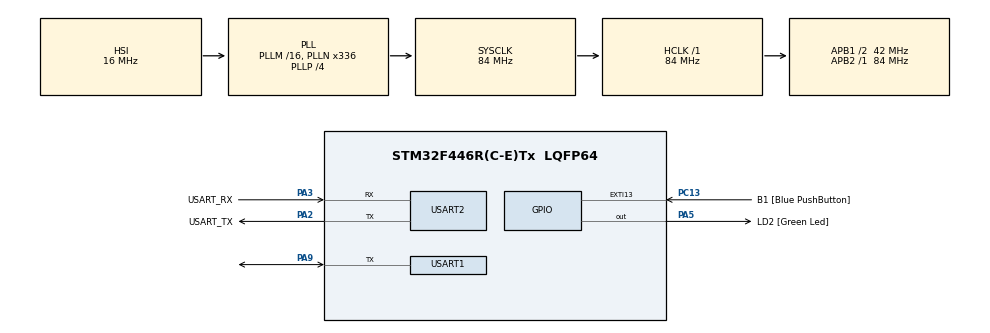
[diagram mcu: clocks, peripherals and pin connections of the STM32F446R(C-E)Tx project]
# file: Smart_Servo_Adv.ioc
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Mcu.Family=STM32F4
Mcu.Name=STM32F446R(C-E)Tx
Mcu.Package=LQFP64
NVIC.PriorityGroup=NVIC_PRIORITYGROUP_0
PA13.GPIO_Label=TMS
PA13.Mode=Serial_Wire
PA13.Signal=SYS_JTMS-SWDIO
PA14.GPIO_Label=TCK
PA14.Mode=Serial_Wire
PA14.Signal=SYS_JTCK-SWCLK
PA2.GPIO_Label=USART_TX
PA2.Mode=Asynchronous
PA2.Signal=USART2_TX
PA3.GPIO_Label=USART_RX
PA3.Mode=Asynchronous
PA3.Signal=USART2_RX
PA5.GPIO_Label=LD2 [Green Led]
PA5.Signal=GPIO_Output
PA9.GPIO_PuPd=GPIO_PULLUP
PA9.Mode=Half_duplex(single_wire_mode)
PA9.Signal=USART1_TX
PB3.GPIO_Label=SWO
PB3.Signal=SYS_JTDO-SWO
PC13.GPIO_Label=B1 [Blue PushButton]
PC13.GPIO_ModeDefaultEXTI=GPIO_MODE_IT_FALLING
PC13.Signal=GPXTI13
PC14-OSC32_IN.Mode=LSE-External-Oscillator
PC14-OSC32_IN.Signal=RCC_OSC32_IN
PC15-OSC32_OUT.Mode=LSE-External-Oscillator
PC15-OSC32_OUT.Signal=RCC_OSC32_OUT
PH0-OSC_IN.Mode=HSE-External-Oscillator
PH0-OSC_IN.Signal=RCC_OSC_IN
PH1-OSC_OUT.Mode=HSE-External-Oscillator
PH1-OSC_OUT.Signal=RCC_OSC_OUT
ProjectManager.HeapSize=0x200
ProjectManager.StackSize=0x400
ProjectManager.TargetToolchain=STM32CubeIDE
RCC.48MHZClocksFreq_Value=84000000
RCC.AHBFreq_Value=84000000
RCC.APB1CLKDivider=RCC_HCLK_DIV2
RCC.APB1Freq_Value=42000000
RCC.APB1TimFreq_Value=84000000
RCC.APB2Freq_Value=84000000
RCC.APB2TimFreq_Value=84000000
RCC.CortexFreq_Value=84000000
RCC.FLatency-AdvancedSettings=FLASH_LATENCY_2
RCC.HCLKFreq_Value=84000000
RCC.HSE_VALUE=8000000
RCC.HSI_VALUE=16000000
RCC.PLLN=336
RCC.PLLP=RCC_PLLP_DIV4
RCC.SYSCLKFreq_VALUE=84000000
RCC.SYSCLKSource=RCC_SYSCLKSOURCE_PLLCLK
RCC.USBFreq_Value=168000000
RCC.VCOOutputFreq_Value=336000000
USART1.BaudRate=115200
USART1.VirtualMode=VM_ASYNC
USART2.VirtualMode=VM_ASYNC
board=NUCLEO-F446RE

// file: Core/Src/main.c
/* USER CODE BEGIN Header */
/**
 ******************************************************************************
 * @file           : main.c
 * @brief          : Main program body
 ******************************************************************************
 * @attention
 *
 * Copyright (c) 2024 STMicroelectronics.
 * All rights reserved.
 *
 * This software is licensed under terms that can be found in the LICENSE file
 * in the root directory of this software component.
 * If no LICENSE file comes with this software, it is provided AS-IS.
 *
 ******************************************************************************
 */
/* USER CODE END Header */
#include "main.h"

/* USER CODE BEGIN Includes */
#include "../../../../AxelFlow.h"
#include <stdio.h>

/* USER CODE END Includes */

UART_HandleTypeDef huart1;
UART_HandleTypeDef huart2;

void SystemClock_Config(void);
static void MX_GPIO_Init(void);
static void MX_USART2_UART_Init(void);
static void MX_USART1_UART_Init(void);

int main(void)
{

	/* MCU Configuration--------------------------------------------------------*/

	/* Reset of all peripherals, Initializes the Flash interface and the Systick. */
	HAL_Init();

	/* Configure the system clock */
	SystemClock_Config();

	/* Initialize all configured peripherals */
	MX_GPIO_Init();
	MX_USART2_UART_Init();
	MX_USART1_UART_Init();
	/* USER CODE BEGIN 2 */

	/* TODO: THINGS TO KEEP OUT OF MAIN CODE
	 * 	 - UART code
	 * 	 - Debug Printing
	 * 	 - Compliance Slope Code
	 *
	 * TODO 2:
	 * - Multiple UART Compatible
	 *  - To ping
	 *  - To get current ID, model and firmware
	 *  - To set baudrate and ID
	 *  - To set angle and speed
	 *  - To set max torque
	 *  - Enable LED when gripping
	 *  - Set operating voltage to 12v
	 *  - To scan baudrate and ID
	 *
	 *
	 *
	 * */
	/* USER CODE END 2 */

	/* Infinite loop */
	/* USER CODE BEGIN WHILE */

	HAL_Delay(2000);
	for (int i = 0; i < 250; i++)
	{
		uint8_t send_data[] = { 0xFF, 0xFF, i, 0x07, 0x03, 0x1E, 0x00, 0x01,
				0x2C, 0x01, 0xA8 };
		uint8_t receive_data[INSTRUCTION_FRAME_BUFFER]; // Array to store received data
		memset(receive_data, 0, sizeof(receive_data));
		HAL_UART_Transmit(&huart1, send_data, sizeof(send_data), HAL_MAX_DELAY);
		HAL_UART_Receive(&huart1, receive_data, sizeof(receive_data),
		STATUS_PACKET_TIMEOUT);

		for (int i = 1; i < sizeof(receive_data); i++)
		{
			char rcv_dt[10];
			sprintf(rcv_dt, "0x%02X ", receive_data[i]);
			HAL_UART_Transmit(&huart2, (uint8_t*) rcv_dt, strlen(rcv_dt),
			HAL_MAX_DELAY);
		}
		HAL_UART_Transmit(&huart2, (uint8_t*) "\n\r", strlen("\n\r"),
		HAL_MAX_DELAY);

		HAL_Delay(10);
	}
	while (1)
	{

		HAL_Delay(100);
		/* USER CODE END WHILE */

	}
}

void SystemClock_Config(void)
{
	RCC_OscInitTypeDef RCC_OscInitStruct = { 0 };
	RCC_ClkInitTypeDef RCC_ClkInitStruct = { 0 };

	/** Configure the main internal regulator output voltage
	 */
	__HAL_RCC_PWR_CLK_ENABLE();
	__HAL_PWR_VOLTAGESCALING_CONFIG(PWR_REGULATOR_VOLTAGE_SCALE3);

	/** Initializes the RCC Oscillators according to the specified parameters
	 * in the RCC_OscInitTypeDef structure.
	 */
	RCC_OscInitStruct.OscillatorType = RCC_OSCILLATORTYPE_HSI;
	RCC_OscInitStruct.HSIState = RCC_HSI_ON;
	RCC_OscInitStruct.HSICalibrationValue = RCC_HSICALIBRATION_DEFAULT;
	RCC_OscInitStruct.PLL.PLLState = RCC_PLL_ON;
	RCC_OscInitStruct.PLL.PLLSource = RCC_PLLSOURCE_HSI;
	RCC_OscInitStruct.PLL.PLLM = 16;
	RCC_OscInitStruct.PLL.PLLN = 336;
	RCC_OscInitStruct.PLL.PLLP = RCC_PLLP_DIV4;
	RCC_OscInitStruct.PLL.PLLQ = 2;
	RCC_OscInitStruct.PLL.PLLR = 2;
	if (HAL_RCC_OscConfig(&RCC_OscInitStruct) != HAL_OK)
	{
		Error_Handler();
	}

	/** Initializes the CPU, AHB and APB buses clocks
	 */
	RCC_ClkInitStruct.ClockType = RCC_CLOCKTYPE_HCLK | RCC_CLOCKTYPE_SYSCLK
			| RCC_CLOCKTYPE_PCLK1 | RCC_CLOCKTYPE_PCLK2;
	RCC_ClkInitStruct.SYSCLKSource = RCC_SYSCLKSOURCE_PLLCLK;
	RCC_ClkInitStruct.AHBCLKDivider = RCC_SYSCLK_DIV1;
	RCC_ClkInitStruct.APB1CLKDivider = RCC_HCLK_DIV2;
	RCC_ClkInitStruct.APB2CLKDivider = RCC_HCLK_DIV1;

	if (HAL_RCC_ClockConfig(&RCC_ClkInitStruct, FLASH_LATENCY_2) != HAL_OK)
	{
		Error_Handler();
	}
}

static void MX_USART1_UART_Init(void)
{

	huart1.Instance = USART1;
	huart1.Init.BaudRate = 115200;
	huart1.Init.WordLength = UART_WORDLENGTH_8B;
	huart1.Init.StopBits = UART_STOPBITS_1;
	huart1.Init.Parity = UART_PARITY_NONE;
	huart1.Init.Mode = UART_MODE_TX_RX;
	huart1.Init.HwFlowCtl = UART_HWCONTROL_NONE;
	huart1.Init.OverSampling = UART_OVERSAMPLING_16;
	if (HAL_HalfDuplex_Init(&huart1) != HAL_OK)
	{
		Error_Handler();
	}

}

static void MX_USART2_UART_Init(void)
{

	huart2.Instance = USART2;
	huart2.Init.BaudRate = 115200;
	huart2.Init.WordLength = UART_WORDLENGTH_8B;
	huart2.Init.StopBits = UART_STOPBITS_1;
	huart2.Init.Parity = UART_PARITY_NONE;
	huart2.Init.Mode = UART_MODE_TX_RX;
	huart2.Init.HwFlowCtl = UART_HWCONTROL_NONE;
	huart2.Init.OverSampling = UART_OVERSAMPLING_16;
	if (HAL_UART_Init(&huart2) != HAL_OK)
	{
		Error_Handler();
	}

}

static void MX_GPIO_Init(void)
{
	GPIO_InitTypeDef GPIO_InitStruct = { 0 };

	/* GPIO Ports Clock Enable */
	__HAL_RCC_GPIOC_CLK_ENABLE();
	__HAL_RCC_GPIOH_CLK_ENABLE();
	__HAL_RCC_GPIOA_CLK_ENABLE();
	__HAL_RCC_GPIOB_CLK_ENABLE();

	/*Configure GPIO pin Output Level */
	HAL_GPIO_WritePin(LD2_GPIO_Port, LD2_Pin, GPIO_PIN_RESET);

	/*Configure GPIO pin : B1_Pin */
	GPIO_InitStruct.Pin = B1_Pin;
	GPIO_InitStruct.Mode = GPIO_MODE_IT_FALLING;
	GPIO_InitStruct.Pull = GPIO_NOPULL;
	HAL_GPIO_Init(B1_GPIO_Port, &GPIO_InitStruct);

	/*Configure GPIO pin : LD2_Pin */
	GPIO_InitStruct.Pin = LD2_Pin;
	GPIO_InitStruct.Mode = GPIO_MODE_OUTPUT_PP;
	GPIO_InitStruct.Pull = GPIO_NOPULL;
	GPIO_InitStruct.Speed = GPIO_SPEED_FREQ_LOW;
	HAL_GPIO_Init(LD2_GPIO_Port, &GPIO_InitStruct);

}

void Error_Handler(void)
{
	__disable_irq();
	while (1)
	{
	}
}
